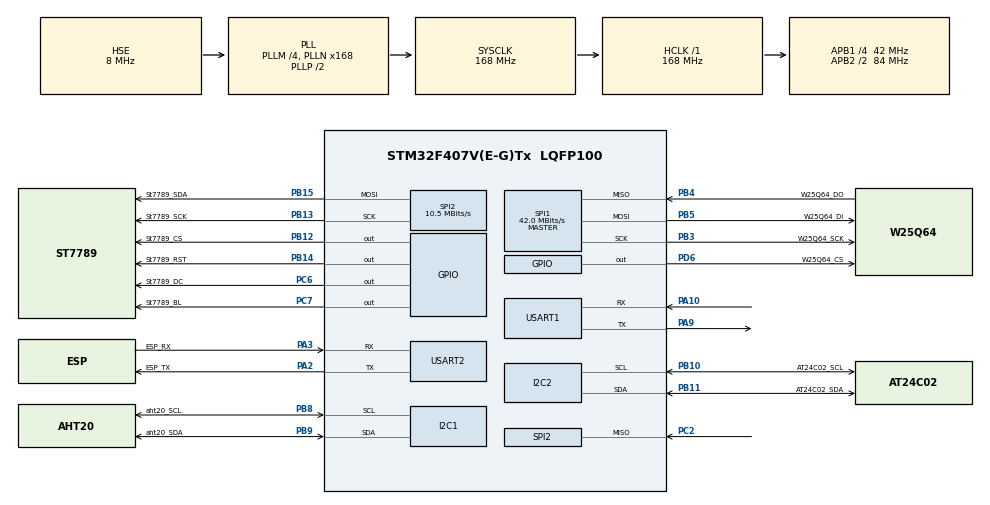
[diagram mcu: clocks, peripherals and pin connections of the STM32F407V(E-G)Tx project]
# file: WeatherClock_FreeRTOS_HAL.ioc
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Dma.Request0=SPI2_TX
Dma.Request1=USART2_TX
Dma.SPI2_TX.0.Direction=DMA_MEMORY_TO_PERIPH
Dma.SPI2_TX.0.FIFOMode=DMA_FIFOMODE_ENABLE
Dma.SPI2_TX.0.FIFOThreshold=DMA_FIFO_THRESHOLD_FULL
Dma.SPI2_TX.0.Instance=DMA1_Stream4
Dma.SPI2_TX.0.MemBurst=DMA_MBURST_INC8
Dma.SPI2_TX.0.MemDataAlignment=DMA_MDATAALIGN_HALFWORD
Dma.SPI2_TX.0.MemInc=DMA_MINC_DISABLE
Dma.SPI2_TX.0.Mode=DMA_NORMAL
Dma.SPI2_TX.0.PeriphBurst=DMA_PBURST_SINGLE
Dma.SPI2_TX.0.PeriphDataAlignment=DMA_PDATAALIGN_HALFWORD
Dma.SPI2_TX.0.PeriphInc=DMA_PINC_DISABLE
Dma.SPI2_TX.0.Priority=DMA_PRIORITY_HIGH
Dma.USART2_TX.1.Direction=DMA_MEMORY_TO_PERIPH
Dma.USART2_TX.1.FIFOMode=DMA_FIFOMODE_ENABLE
Dma.USART2_TX.1.FIFOThreshold=DMA_FIFO_THRESHOLD_FULL
Dma.USART2_TX.1.Instance=DMA1_Stream6
Dma.USART2_TX.1.MemBurst=DMA_MBURST_SINGLE
Dma.USART2_TX.1.MemDataAlignment=DMA_MDATAALIGN_BYTE
Dma.USART2_TX.1.MemInc=DMA_MINC_ENABLE
Dma.USART2_TX.1.Mode=DMA_NORMAL
Dma.USART2_TX.1.PeriphBurst=DMA_PBURST_SINGLE
Dma.USART2_TX.1.PeriphDataAlignment=DMA_PDATAALIGN_BYTE
Dma.USART2_TX.1.PeriphInc=DMA_PINC_DISABLE
Dma.USART2_TX.1.Priority=DMA_PRIORITY_LOW
FREERTOS.Tasks01=Init_Task,29,1024,main_init,Default,NULL,Dynamic,NULL,NULL
FREERTOS.configQUEUE_REGISTRY_SIZE=10
FREERTOS.configTIMER_TASK_STACK_DEPTH=128
FREERTOS.configTOTAL_HEAP_SIZE=94208
Mcu.Family=STM32F4
Mcu.Name=STM32F407V(E-G)Tx
Mcu.Package=LQFP100
NVIC.DMA1_Stream4_IRQn=true\:5\:0\:false\:false\:true\:true\:false\:true\:true
NVIC.DMA1_Stream6_IRQn=true\:5\:0\:false\:false\:true\:true\:false\:true\:true
NVIC.PriorityGroup=NVIC_PRIORITYGROUP_4
NVIC.TIM4_IRQn=true\:15\:0\:false\:false\:true\:false\:false\:true\:true
NVIC.TIM6_DAC_IRQn=true\:5\:0\:false\:false\:true\:true\:true\:true\:true
NVIC.TimeBase=TIM4_IRQn
NVIC.TimeBaseIP=TIM4
NVIC.USART2_IRQn=true\:5\:0\:false\:false\:true\:true\:true\:true\:true
PA10.Mode=Asynchronous
PA10.Signal=USART1_RX
PA13.Mode=Serial_Wire
PA13.Signal=SYS_JTMS-SWDIO
PA14.Mode=Serial_Wire
PA14.Signal=SYS_JTCK-SWCLK
PA2.GPIO_Label=ESP_TX
PA2.Mode=Asynchronous
PA2.Signal=USART2_TX
PA3.GPIO_Label=ESP_RX
PA3.Mode=Asynchronous
PA3.Signal=USART2_RX
PA9.Mode=Asynchronous
PA9.Signal=USART1_TX
PB10.GPIO_Label=AT24C02_SCL
PB10.GPIO_Speed=GPIO_SPEED_FREQ_HIGH
PB10.Mode=I2C
PB10.Signal=I2C2_SCL
PB11.GPIO_Label=AT24C02_SDA
PB11.GPIO_Speed=GPIO_SPEED_FREQ_HIGH
PB11.Mode=I2C
PB11.Signal=I2C2_SDA
PB12.GPIO_Label=St7789_CS
PB12.GPIO_ModeDefaultOutputPP=GPIO_MODE_OUTPUT_PP
PB12.GPIO_PuPd=GPIO_NOPULL
PB12.GPIO_Speed=GPIO_SPEED_FREQ_HIGH
PB12.PinState=GPIO_PIN_SET
PB12.Signal=GPIO_Output
PB13.GPIO_Label=St7789_SCK
PB13.Mode=Full_Duplex_Master
PB13.Signal=SPI2_SCK
PB14.GPIO_Label=St7789_RST
PB14.GPIO_ModeDefaultOutputPP=GPIO_MODE_OUTPUT_PP
PB14.GPIO_PuPd=GPIO_NOPULL
PB14.GPIO_Speed=GPIO_SPEED_FREQ_HIGH
PB14.PinState=GPIO_PIN_SET
PB14.Signal=GPIO_Output
PB15.GPIO_Label=St7789_SDA
PB15.Mode=Full_Duplex_Master
PB15.Signal=SPI2_MOSI
PB3.GPIO_Label=W25Q64_SCK
PB3.Mode=Full_Duplex_Master
PB3.Signal=SPI1_SCK
PB4.GPIO_Label=W25Q64_DO
PB4.Mode=Full_Duplex_Master
PB4.Signal=SPI1_MISO
PB5.GPIO_Label=W25Q64_DI
PB5.Mode=Full_Duplex_Master
PB5.Signal=SPI1_MOSI
PB8.GPIO_Label=aht20_SCL
PB8.GPIO_Pu=GPIO_PULLUP
PB8.GPIO_Speed=GPIO_SPEED_FREQ_HIGH
PB8.Mode=I2C
PB8.Signal=I2C1_SCL
PB9.GPIO_Label=aht20_SDA
PB9.GPIO_Pu=GPIO_PULLUP
PB9.GPIO_Speed=GPIO_SPEED_FREQ_HIGH
PB9.Mode=I2C
PB9.Signal=I2C1_SDA
PC14-OSC32_IN.Mode=LSE-External-Oscillator
PC14-OSC32_IN.Signal=RCC_OSC32_IN
PC15-OSC32_OUT.Mode=LSE-External-Oscillator
PC15-OSC32_OUT.Signal=RCC_OSC32_OUT
PC2.Mode=Full_Duplex_Master
PC2.Signal=SPI2_MISO
PC6.GPIO_Label=St7789_DC
PC6.GPIO_ModeDefaultOutputPP=GPIO_MODE_OUTPUT_PP
PC6.GPIO_PuPd=GPIO_NOPULL
PC6.GPIO_Speed=GPIO_SPEED_FREQ_HIGH
PC6.PinState=GPIO_PIN_SET
PC6.Signal=GPIO_Output
PC7.GPIO_Label=St7789_BL
PC7.GPIO_ModeDefaultOutputPP=GPIO_MODE_OUTPUT_PP
PC7.GPIO_PuPd=GPIO_NOPULL
PC7.GPIO_Speed=GPIO_SPEED_FREQ_HIGH
PC7.PinState=GPIO_PIN_SET
PC7.Signal=GPIO_Output
PD6.GPIO_Label=W25Q64_CS
PD6.GPIO_Speed=GPIO_SPEED_FREQ_HIGH
PD6.PinState=GPIO_PIN_SET
PD6.Signal=GPIO_Output
PH0-OSC_IN.Mode=HSE-External-Oscillator
PH0-OSC_IN.Signal=RCC_OSC_IN
PH1-OSC_OUT.Mode=HSE-External-Oscillator
PH1-OSC_OUT.Signal=RCC_OSC_OUT
ProjectManager.HeapSize=0x200
ProjectManager.StackSize=0x400
ProjectManager.TargetToolchain=MDK-ARM V5.32
RCC.48MHZClocksFreq_Value=84000000
RCC.AHBFreq_Value=168000000
RCC.APB1CLKDivider=RCC_HCLK_DIV4
RCC.APB1Freq_Value=42000000
RCC.APB1TimFreq_Value=84000000
RCC.APB2CLKDivider=RCC_HCLK_DIV2
RCC.APB2Freq_Value=84000000
RCC.APB2TimFreq_Value=168000000
RCC.CortexFreq_Value=168000000
RCC.HCLKFreq_Value=168000000
RCC.HSE_VALUE=8000000
RCC.HSI_VALUE=16000000
RCC.PLLM=4
RCC.PLLN=168
RCC.PLLSourceVirtual=RCC_PLLSOURCE_HSE
RCC.RCC_RTC_Clock_Source=RCC_RTCCLKSOURCE_LSE
RCC.RCC_RTC_Clock_SourceVirtual=RCC_RTCCLKSOURCE_LSE
RCC.SYSCLKFreq_VALUE=168000000
RCC.SYSCLKSource=RCC_SYSCLKSOURCE_PLLCLK
RCC.VCOOutputFreq_Value=336000000
SPI1.CalculateBaudRate=42.0 MBits/s
SPI1.Direction=SPI_DIRECTION_2LINES
SPI1.Mode=SPI_MODE_MASTER
SPI1.VirtualType=VM_MASTER
SPI2.BaudRatePrescaler=SPI_BAUDRATEPRESCALER_4
SPI2.CalculateBaudRate=10.5 MBits/s
SPI2.Direction=SPI_DIRECTION_2LINES
SPI2.Mode=SPI_MODE_MASTER
SPI2.VirtualType=VM_MASTER
TIM6.Period=1000-1
TIM6.Prescaler=84-1
TIM6.TIM_MasterOutputTrigger=TIM_TRGO_RESET
USART1.VirtualMode=VM_ASYNC
USART2.VirtualMode=VM_ASYNC
VP_FREERTOS_VS_CMSIS_V2.Mode=CMSIS_V2
VP_RTC_VS_RTC_Activate.Mode=RTC_Enabled
VP_SYS_VS_tim4.Mode=TIM4
VP_TIM6_VS_ClockSourceINT.Mode=Enable_Timer
board=custom

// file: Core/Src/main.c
/* USER CODE BEGIN Header */
/**
  ******************************************************************************
  * @file           : main.c
  * @brief          : Main program body
  ******************************************************************************
  * @attention
  *
  * Copyright (c) 2026 STMicroelectronics.
  * All rights reserved.
  *
  * This software is licensed under terms that can be found in the LICENSE file
  * in the root directory of this software component.
  * If no LICENSE file comes with this software, it is provided AS-IS.
  *
  ******************************************************************************
  */
/* USER CODE END Header */
#include "main.h"
#include "cmsis_os.h"
#include "dma.h"
#include "i2c.h"
#include "rtc.h"
#include "spi.h"
#include "tim.h"
#include "usart.h"
#include "gpio.h"

/* USER CODE BEGIN Includes */
#include "tim_delay.h"
#include "app_head.h"
#include "app.h"
/* USER CODE END Includes */

void SystemClock_Config(void);
void MX_FREERTOS_Init(void);

/* USER CODE BEGIN 0 */
#define APP_START_ADDR  0x08009000   /* App 区起始地址，即 BootLoader 的跳转目标 */
/* USER CODE END 0 */

int main(void)
{

  /* USER CODE BEGIN 1 */

  /* 将中断向量表重定向到 App 区起始地址：
     1) 必须在所有初始化之前完成；
     2) 顺序为：关中断 -> 重定向 VTOR -> 开中断 */
  __disable_irq();
  SCB->VTOR = APP_START_ADDR;
  __enable_irq();

  /* 工作队列必须在 RTOS 调度器启动之前完成初始化 */
  workqueue_init();

  /* USER CODE END 1 */

  /* MCU Configuration--------------------------------------------------------*/

  /* Reset of all peripherals, Initializes the Flash interface and the Systick. */
  HAL_Init();

  /* Configure the system clock */
  SystemClock_Config();

  /* Initialize all configured peripherals */
  MX_GPIO_Init();
  MX_DMA_Init();
  MX_I2C1_Init();
  MX_SPI2_Init();
  MX_USART1_UART_Init();
  MX_USART2_UART_Init();
  MX_TIM6_Init();
  MX_RTC_Init();
  MX_SPI1_Init();
  MX_I2C2_Init();
  /* USER CODE BEGIN 2 */
  HAL_TIM_Base_Start_IT(&htim6);   /* 启动 TIM6 中断，为 tim_delay 提供微秒级时基 */
  /* USER CODE END 2 */

  /* Init scheduler */
  osKernelInitialize();  /* Call init function for freertos objects (in cmsis_os2.c) */
  MX_FREERTOS_Init();

  /* Start scheduler */
  osKernelStart();

  /* We should never get here as control is now taken by the scheduler */

  /* Infinite loop */
  while (1)
  {

  }
}

void SystemClock_Config(void)
{
  RCC_OscInitTypeDef RCC_OscInitStruct = {0};
  RCC_ClkInitTypeDef RCC_ClkInitStruct = {0};

  /** Configure the main internal regulator output voltage
  */
  __HAL_RCC_PWR_CLK_ENABLE();
  __HAL_PWR_VOLTAGESCALING_CONFIG(PWR_REGULATOR_VOLTAGE_SCALE1);

  /** Initializes the RCC Oscillators according to the specified parameters
  * in the RCC_OscInitTypeDef structure.
  */
  RCC_OscInitStruct.OscillatorType = RCC_OSCILLATORTYPE_HSE|RCC_OSCILLATORTYPE_LSE;
  RCC_OscInitStruct.HSEState = RCC_HSE_ON;
  RCC_OscInitStruct.LSEState = RCC_LSE_ON;
  RCC_OscInitStruct.PLL.PLLState = RCC_PLL_ON;
  RCC_OscInitStruct.PLL.PLLSource = RCC_PLLSOURCE_HSE;
  RCC_OscInitStruct.PLL.PLLM = 4;
  RCC_OscInitStruct.PLL.PLLN = 168;
  RCC_OscInitStruct.PLL.PLLP = RCC_PLLP_DIV2;
  RCC_OscInitStruct.PLL.PLLQ = 4;
  if (HAL_RCC_OscConfig(&RCC_OscInitStruct) != HAL_OK)
  {
    Error_Handler();
  }

  /** Initializes the CPU, AHB and APB buses clocks
  */
  RCC_ClkInitStruct.ClockType = RCC_CLOCKTYPE_HCLK|RCC_CLOCKTYPE_SYSCLK
                              |RCC_CLOCKTYPE_PCLK1|RCC_CLOCKTYPE_PCLK2;
  RCC_ClkInitStruct.SYSCLKSource = RCC_SYSCLKSOURCE_PLLCLK;
  RCC_ClkInitStruct.AHBCLKDivider = RCC_SYSCLK_DIV1;
  RCC_ClkInitStruct.APB1CLKDivider = RCC_HCLK_DIV4;
  RCC_ClkInitStruct.APB2CLKDivider = RCC_HCLK_DIV2;

  if (HAL_RCC_ClockConfig(&RCC_ClkInitStruct, FLASH_LATENCY_5) != HAL_OK)
  {
    Error_Handler();
  }
}

void HAL_TIM_PeriodElapsedCallback(TIM_HandleTypeDef *htim)
{
  if (htim->Instance == TIM4)
  {
    HAL_IncTick();
  }
  /* USER CODE BEGIN Callback 1 */
  if(htim->Instance == TIM6)
    {
      tim_delay_period_elapsed();   /* 累加微秒时基并触发已注册的周期回调 */
    }
  /* USER CODE END Callback 1 */
}

void Error_Handler(void)
{
  __disable_irq();
  while (1)
  {
  }
}

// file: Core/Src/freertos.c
/* USER CODE BEGIN Header */
/**
  ******************************************************************************
  * File Name          : freertos.c
  * Description        : Code for freertos applications
  ******************************************************************************
  * @attention
  *
  * Copyright (c) 2026 STMicroelectronics.
  * All rights reserved.
  *
  * This software is licensed under terms that can be found in the LICENSE file
  * in the root directory of this software component.
  * If no LICENSE file comes with this software, it is provided AS-IS.
  *
  ******************************************************************************
  */
/* USER CODE END Header */

#include "FreeRTOS.h"
#include "task.h"
#include "main.h"
#include "cmsis_os.h"

/* USER CODE BEGIN Includes */
#include "app_head.h"
#include "app.h"
#include "onenet_mqtt.h"    /* OneNET MQTT 接入层 */
/* USER CODE END Includes */

/* Definitions for Init_Task */
osThreadId_t Init_TaskHandle;
const osThreadAttr_t Init_Task_attributes = {
  .name = "Init_Task",
  .stack_size = 1024 * 4,
  .priority = (osPriority_t) osPriorityNormal5,
};

void main_init(void *argument);

void MX_FREERTOS_Init(void); /* (MISRA C 2004 rule 8.1) */

void MX_FREERTOS_Init(void) {

  /* Create the thread(s) */
  /* creation of Init_Task */
  Init_TaskHandle = osThreadNew(main_init, NULL, &Init_Task_attributes);

}

void main_init(void *argument)
{
  /* USER CODE BEGIN main_init */

   /* Init task entry */
	/* Low-level board init */
	board_init();
	/* UI init */
	UI_Init();

	/* Welcome page */
	welcome_page_display();

	/* Wifi init */
	wifi_init();
	wifi_page_display(CFG_WIFI_SSID,"[Wifi] Connecting...");
	wifi_wait_connect();

	/* 接入 OneNET MQTT：失败打日志，后续由 HTTP 兜底承接 */
	if (!onenet_mqtt_init())
	{
		printf("[SYS] onenet mqtt init fail, fallback http\r\n");
	}

	/* when wifi success connect , init the ota task */

	/* Default page: main */
	main_page_display();

	/* Start periodic timers (jobs run on the workqueue) */
	mainloop_init();

  /* Finally init the ota task */
	ota_init();

	/* Self-delete: stack is static, release memory */
	vTaskDelete(NULL);

  /* Infinite loop */
  for(;;)
  {
    ;/* empty, never reached */
  }
  /* USER CODE END main_init */
}
